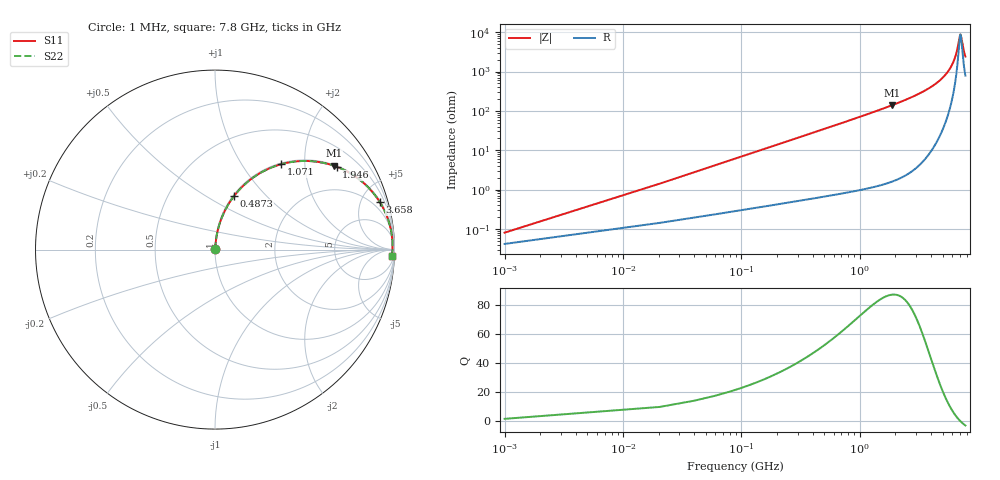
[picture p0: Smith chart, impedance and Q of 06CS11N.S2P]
! Coilcraft 0603CS-11N Chip Inductor
! 21 May 2002
# MHZ S MA R 50
!Freq  MagS11  AngS11  MagS21  AngS21  MagS12  AngS12  MagS22  AngS22
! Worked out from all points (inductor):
!   402 points, 1 MHz to 7.8 GHz, reference 50 ohm
!   read as one part in series: L = 11 nH near 39.9 MHz
!   highest Q = 87.2 at 1.888 GHz (marker M1), where L = 11.8 nH
!   self-resonance near 7.085 GHz
!   S11 on the Smith chart (normalised r, x): 1 MHz: 1.00, +0.00; 487.2 MHz: 1.01, +0.68; 1.071 GHz: 1.02, +1.51; 1.946 GHz: 1.03, +2.91; 3.658 GHz: 1.13, +6.90; 7.8 GHz: 17, -46
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1  0.0008074 58.8  0.9996 -0.0  0.9996 -0.0  0.0008074 58.8
59.35  0.04096 84.4  0.9968 -2.3  0.9968 -2.3  0.04096 84.4
78.8  0.05431 84.1  0.9959 -3.1  0.9959 -3.1  0.05431 84.1
117.7  0.08091 83.1  0.9935 -4.6  0.9935 -4.6  0.08091 83.1
176.05  0.1205 81.2  0.9888 -6.9  0.9888 -6.9  0.1205 81.2
253.85  0.1723 78.5  0.9804 -9.9  0.9804 -9.9  0.1723 78.5
487.25  0.3187 70.3  0.9417 -18.6  0.9417 -18.6  0.3187 70.3
740.1  0.4565 61.9  0.8825 -27.2  0.8825 -27.2  0.4565 61.9
1070.75  0.5999 52.4  0.7921 -36.9  0.7921 -36.9  0.5999 52.4
1304.15  0.678 46.6  0.7266 -42.7  0.7266 -42.7  0.678 46.6
1887.65  0.8103 35.2  0.5768 -54.1  0.5768 -54.1  0.8103 35.2
1946  0.8198 34.3  0.5634 -55.1  0.5634 -55.1  0.8198 34.3
2607.3  0.8973 25.5  0.4303 -63.8  0.4303 -63.8  0.8973 25.5
3657.6  0.9556 16.1  0.2771 -72.8  0.2771 -72.8  0.9556 16.1
3910.45  0.9634 14.3  0.2477 -74.4  0.2477 -74.4  0.9634 14.3
5213.6  0.985 7.2  0.1253 -79.5  0.1253 -79.5  0.985 7.2
5972.15  0.989 4.0  0.06974 -78.9  0.06974 -78.9  0.989 4.0
6516.75  0.9895 1.9  0.03515 -71.7  0.03515 -71.7  0.9895 1.9
6983.55  0.9889 0.3  0.01249 -27.2  0.01249 -27.2  0.9889 0.3
7080.8  0.9887 0.0  0.01133 -1.0  0.01133 -1.0  0.9887 0.0
7528.15  0.9871 -1.4  0.02747 61.4  0.02747 61.4  0.9871 -1.4
7800  0.9859 -2.2  0.04092 68.7  0.04092 68.7  0.9859 -2.2
